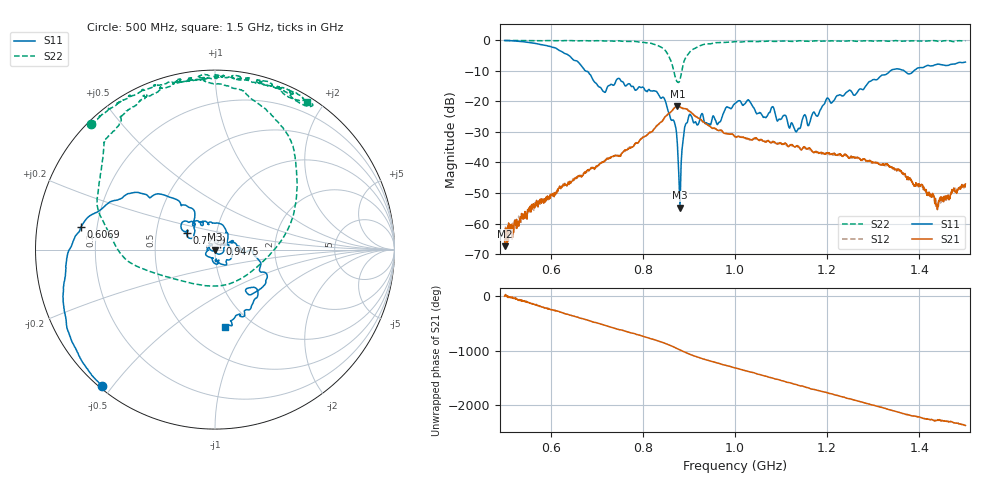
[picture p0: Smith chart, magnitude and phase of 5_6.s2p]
!Agilent Technologies,E8364B,US42250235,A.06.04.32
!Agilent E8364B: A.06.04.32
!Date: Friday, January 15, 2021 16:21:51
!Correction: S11(Full 2 Port(1,2)) S21(Full 2 Port(1,2)) S12(Full 2 Port(1,2)) S22(Full 2 Port(1,2))
!S2P File: Measurements: S11, S21, S12, S22:
# Hz S  dB  R 50
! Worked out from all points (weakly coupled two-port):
!   1601 points, 500 MHz to 1.5 GHz, reference 50 ohm
!   highest |S21| = -21.71 dB at 875 MHz (marker M1); lowest = -67.4 dB at 500 MHz (marker M2)
!   lowest |S11| = -54.8 dB at 880.6 MHz (marker M3), VSWR 1.00, Z = 49.8 - j0.0804 ohm
!   |S11| at or under -10 dB: 675 MHz to 1.338 GHz (662.5 MHz wide, 65.8 % of centre); 1.367 GHz to 1.388 GHz (21.59 MHz wide, 1.57 % of centre)
!   |S22| runs from -13.9 to -0.1 dB; largest |S21 - S12| = 0.003
!   S11 on the Smith chart (normalised r, x): 500 MHz: 0.01, -0.47; 606.9 MHz: 0.14, +0.08; 726.9 MHz: 0.72, +0.13; 947.5 MHz: 1.05, +0.07; 1.5 GHz: 0.75, -0.81
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5e8  -0.12 -129.5  -67.38 -2.8  -65.93 28.7  -0.16 134.6
5.6e8  -0.92 -159.4  -54.93 -146.8  -54.39 -143.5  -0.15 127.3
6.06875e8  -2.41 170.6  -50.69 98.4  -50.36 93.9  -0.20 122.7
6.66875e8  -8.42 130.1  -44.77 -50.4  -44.33 -50.0  -0.21 114.1
7.14375e8  -16.76 143.3  -39.83 -168.6  -39.78 -168.1  -0.26 109.5
7.26875e8  -14.86 149.9  -38.68 159.5  -38.58 160.0  -0.30 105.9
8.3375e8  -17.71 64.3  -27.60 -104.7  -27.56 -103.9  -1.87 66.0
8.55e8  -23.32 27.5  -24.21 -170.3  -24.18 -169.2  -4.85 36.9
8.68125e8  -26.70 -21.7  -22.18 143.7  -22.22 144.8  -10.76 -9.5
8.75e8  -34.11 -71.0  -21.71 113.9  -21.71 115.4  -13.68 -67.0
8.80625e8  -54.79 -153.7  -21.86 90.5  -21.89 91.9  -12.91 -123.1
8.89375e8  -29.98 168.1  -22.41 59.4  -22.37 60.8  -6.95 -168.3
8.99375e8  -25.05 129.3  -23.16 22.2  -23.01 23.2  -4.37 170.2
9.475e8  -27.53 51.0  -28.42 -113.9  -28.42 -111.1  -1.19 129.2
1e9  -20.74 2.8  -31.64 122.7  -31.49 124.6  -0.50 114.0
1.064375e9  -25.17 -81.9  -33.28 -24.3  -33.04 -22.9  -0.41 102.2
1.081875e9  -21.76 -82.4  -33.14 -61.9  -33.39 -63.5  -0.43 102.3
1.13375e9  -29.82 124.3  -34.53 177.9  -34.53 175.3  -0.36 92.0
1.166875e9  -24.50 58.6  -36.19 95.7  -36.13 98.9  -0.35 89.1
1.33375e9  -10.56 -25.0  -41.03 82.5  -41.41 84.6  -0.37 74.1
1.438125e9  -7.93 -65.6  -54.38 -114.7  -54.34 -109.6  -0.32 67.9
1.5e9  -7.20 -82.4  -47.04 151.3  -47.61 152.6  -0.25 58.1
